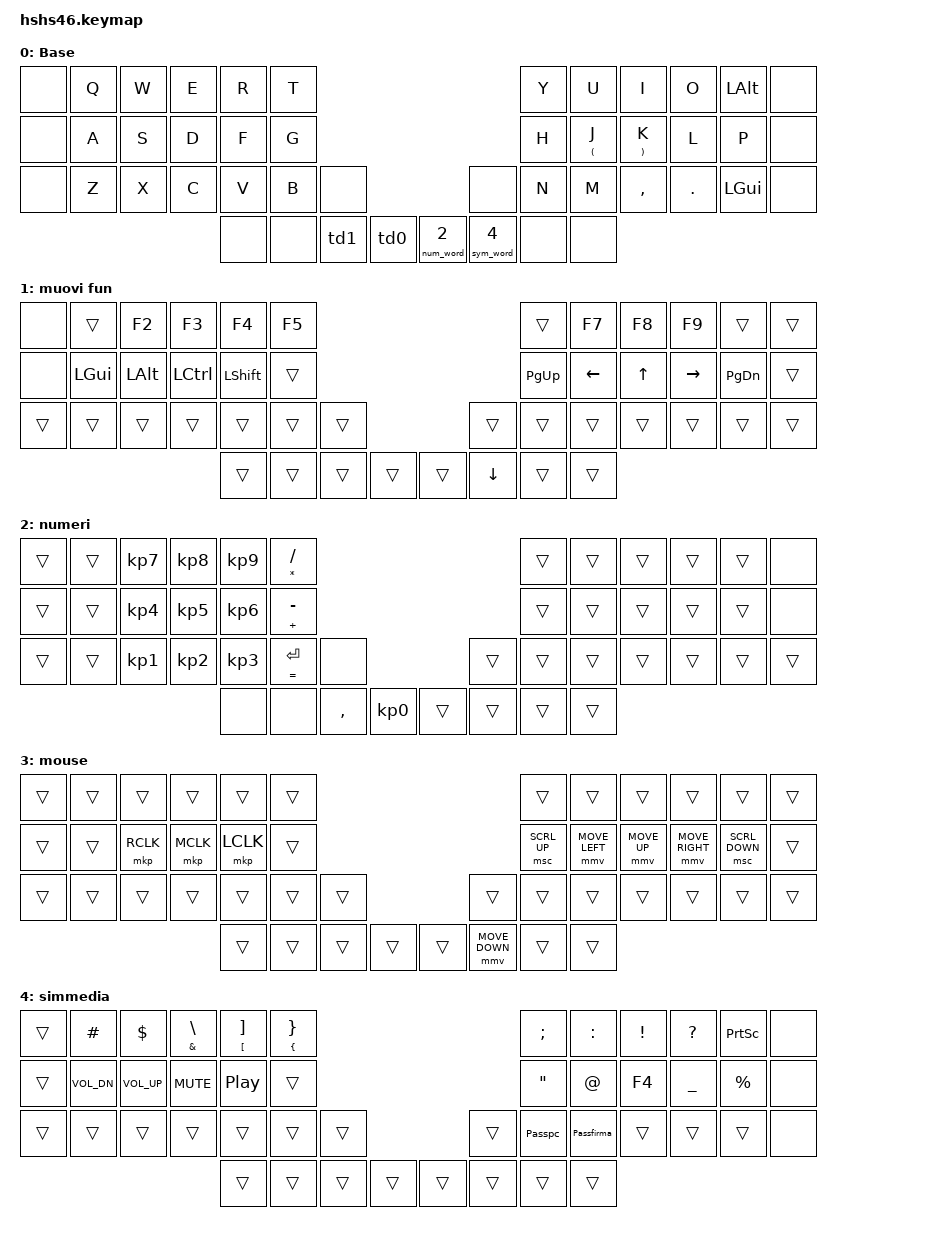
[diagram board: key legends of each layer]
/*
 * Copyright (c) 2021-2022 The ZMK Contributors
 *
 * SPDX-License-Identifier: MIT
 */

#include <dt-bindings/zmk/bt.h>
#include <dt-bindings/zmk/ext_power.h>
#include <dt-bindings/zmk/keys.h>
#include <dt-bindings/zmk/outputs.h>
#include <dt-bindings/zmk/behaviors.h>
#include <behaviors.dtsi>
#include <behaviors/num_word.dtsi>
#include <behaviors/num_word.dtsi>



#define ZMK_POINTING_DEFAULT_MOVE_VAL 1000 

#include <dt-bindings/zmk/pointing.h>


&num_word {
  continue-list = <LPAR RPAR EQUAL SLASH MINUS ASTRK PLUS PRCNT COMMA DOT BSPC>;
};

&mt {
    tapping-term-ms = <130>; // This is the value already set by default
};

/ {
    macros {
        Passpc: Passpc {
            compatible = "zmk,behavior-macro";
            #binding-cells = <0>;
            bindings = <&kp N0 &kp N3 &kp N1 &kp N1>;
            label = "PASSPC";
        };

        Passfirma: Passfirma {
            compatible = "zmk,behavior-macro";
            #binding-cells = <0>;
            bindings = <&kp N7 &kp N3 &kp N0 &kp N0 &kp N2 &kp N0 &kp N9 &kp N9>;
            label = "PASSFIRMA";
        };
    };
};


/ {
  behaviors {
    nav_word: nav_word {
      compatible = "zmk,behavior-auto-layer";
      #binding-cells = <1>;
        continue-list = <LEFT DOWN UP RIGHT PG_DN PG_UP>;
      ignore-modifiers;
    };
  };
};

/ {
  behaviors {
    mau_word: mau_word {
      compatible = "zmk,behavior-auto-layer";
      #binding-cells = <1>;
        continue-list = <SCRL_UP MOVE_LEFT MOVE_UP MOVE_DOWN MOVE_RIGHT SCRL_DOWN RCLK MCLK LCLK>;
      ignore-modifiers;
    };
  };
};

/ {
  behaviors {
    sym_word: sym_word {
      compatible = "zmk,behavior-auto-layer";
      #binding-cells = <1>;
        continue-list = <LBKT RBKT LBRC RBRC BSLH AT DLLR POUND AMPERSAND>;
      ignore-modifiers;
    };
  };
};

/ {
    combos {
        compatible = "zmk,combos";
        combo_backspace {
            timeout-ms = <50>;
            key-positions = <19 20>;
            bindings = <&kp BSPC>;
        };

        combo_space {
            timeout-ms = <60>;
            key-positions = <15 16>;
            bindings = <&kp SPACE>;
        };

        combo_enter {
            timeout-ms = <50>;
            key-positions = <33 34>;
            bindings = <&kp ENTER>;
        };

        combo_del {        
            timeout-ms = <50>;  
            key-positions = <27 28>;
            bindings = <&kp DEL>;
        };

        combo_esc {        
            timeout-ms = <50>;  
            key-positions = <28 29>;
            bindings = <&kp ESC>;
        };

        combo_tab {
            timeout-ms = <50>;
            key-positions = <16 17>;
            bindings = <&kp TAB>;
        };

        combo_maus {
            timeout-ms = <50>;
            key-positions = <32 33>;
            bindings = <&nav_word 1>;
        };

        combo_nav {
            timeout-ms = <50>;
            key-positions = <18 19>;
            bindings = <&kp SQT>;
        };

        combo_grave {
            timeout-ms = <50>;
            key-positions = <6 7>;
            bindings = <&mau_word 3>;
        };
    };
};

/ {
    behaviors {
        td0: tap_dance_0 {
            compatible = "zmk,behavior-tap-dance";
            #binding-cells = <0>;
            tapping-term-ms = <200>;
            bindings = <&sk LCTRL>, <&num_word 2>;  
        };
    };
};

/ {
    behaviors {
        td1: tap_dance_1 {
            compatible = "zmk,behavior-tap-dance";
            #binding-cells = <0>;
            tapping-term-ms = <200>;
            bindings = <&sk LSHIFT>, <&caps_word>;  
        };
    };
};

/ {
    keymap {
        compatible = "zmk,keymap";

        Base {
            display-name = "Base";
            bindings = <           
&none   &kp Q    &kp  W    &kp E     &kp  R        &kp  T                                                                                   &kp  Y      &kp U       &kp I       &kp  O     &kp LALT   &none       
&none   &kp  A   &kp  S    &kp  D    &kp  F        &kp  G                                                                                   &kp  H        &mt LPAR J  &mt RPAR K  &kp  L     &kp  P     &none   
&none   &kp  Z   &kp  X    &kp  C    &kp  V        &kp  B     &none                                                          &none          &kp  N        &kp M       &kp COMMA   &kp  DOT   &kp LGUI   &none           
                                     &none         &none      &td1    &td0                                      &num_word 2  &sym_word 4    &none         &none   
           >;
                       
       };

        nav_layer {
            display-name = "muovi fun";
            bindings = <
&none       &trans        &kp  F2       &kp  F3       &kp  F4       &kp  F5                                                                 &trans          &kp  F7         &kp   F8       &kp   F9      &trans         &trans
&none       &kp  LGUI     &kp  LALT     &kp  LCTRL    &kp  LSHFT    &trans                                                                  &kp   PG_UP     &kp  LEFT       &kp   UP       &kp  RIGHT    &kp PG_DN     &trans
&trans      &trans        &trans        &trans        &trans        &trans        &trans                                         &trans     &trans          &trans          &trans         &trans        &trans       &trans 
                                                      &trans        &trans        &trans        &trans                   &trans  &kp DOWN   &trans          &trans
           >;

                        
       };

        num_layer {
            display-name = "numeri";
            bindings = <
&trans   &trans    &kp  KP_N7    &kp  KP_N8    &kp  KP_N9   &mt ASTRK  SLASH                                                                    &trans    &trans   &trans   &trans   &trans   &none
&trans   &trans    &kp  KP_N4    &kp  KP_N5    &kp  KP_N6   &mt PLUS   MINUS                                                                    &trans    &trans   &trans   &trans   &trans    &none  
&trans   &trans    &kp  KP_N1    &kp  KP_N2    &kp  KP_N3   &mt EQUAL  ENTER   &none                                                 &trans     &trans    &trans   &trans   &trans   &trans    &trans
                                               &none        &none              &kp COMMA    &kp KP_N0                     &trans     &trans     &trans    &trans
           >;

                        
        };

        mau_layer {
            display-name = "mouse";
            bindings = < 
&trans      &trans     &trans         &trans         &trans        &trans                                                                         &trans           &trans           &trans          &trans            &trans             &trans 
&trans      &trans     &mkp  RCLK     &mkp MCLK      &mkp LCLK     &trans                                                                         &msc   SCRL_UP   &mmv  MOVE_LEFT  &mmv   MOVE_UP  &mmv  MOVE_RIGHT  &msc SCRL_DOWN     &trans 
&trans      &trans     &trans         &trans         &trans        &trans      &trans                                      &trans                 &trans           &trans           &trans          &trans            &trans             &trans           
                                                     &trans        &trans      &trans    &trans                 &trans     &mmv   MOVE_DOWN       &trans           &trans
           >;

                        
       };


        sym_layer {
            display-name = "simmedia";
            bindings = <
&trans     &kp POUND     &kp DLLR        &mt AMPERSAND BSLH    &mt  LBKT  RBKT  &mt LBRC RBRC                                                  &kp SEMI        &kp COLON       &kp EXCL    &kp  QMARK    &kp  PSCRN    &none
&trans     &kp C_VOL_DN  &kp C_VOL_UP    &kp  C_MUTE           &kp  C_PP        &trans                                                         &kp DQT         &kp  AT         &kp  F4     &kp  UNDER    &kp PERCENT    &none 
&trans     &trans        &trans          &trans                &trans           &trans         &trans                              &trans      &Passpc         &Passfirma      &trans      &trans        &trans        &none
                                                               &trans           &trans         &trans   &trans            &trans   &trans      &trans          &trans
           >;

                          
        };
    };
}; 


